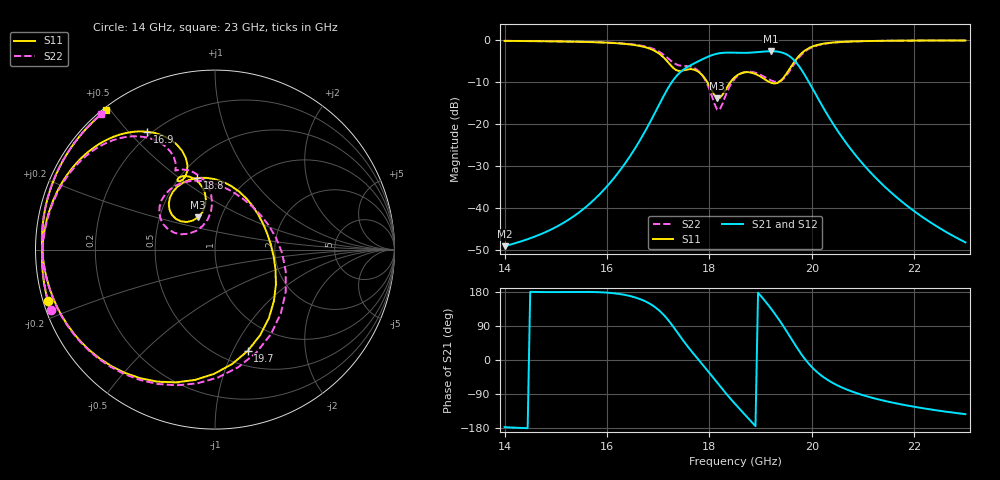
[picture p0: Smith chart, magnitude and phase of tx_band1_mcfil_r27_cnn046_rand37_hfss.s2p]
! Touchstone file exported from HFSS 3D Layout Design 2026.1.0
!  File:  D:/Work/SIM/ADS_AUTO_SIM/projects/RFSOC_RF/TX_Fillter.aedt
!  Generated:  02:12:20 AM Aug 31, 2026
!  Design:  TX_BAND1_MCFIL_R27_CNN046
!  Project:  TX_Fillter
# GHz S MA R 50.000000
! Terminal data exported
! Port[1] = Port1
! Port[2] = Port2
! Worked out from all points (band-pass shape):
!   181 points, 14 GHz to 23 GHz, reference 50 ohm
!   highest |S21| = -2.70 dB at 19.2 GHz (marker M1); lowest = -49.0 dB at 14 GHz (marker M2)
!   |S21| within 3 dB of the highest: 17.68 GHz to 19.72 GHz (2.031 GHz wide, 10.9 % of centre)
!   lowest |S11| = -13.8 dB at 18.15 GHz (marker M3), VSWR 1.51, Z = 39 + j14.6 ohm
!   |S11| at or under -10 dB: 17.96 GHz to 18.41 GHz (457.8 MHz wide, 2.52 % of centre); 19.17 GHz to 19.36 GHz (190.3 MHz wide, 0.988 % of centre)
!   |S22| runs from -16.6 to -0.1 dB; largest |S21 - S12| = 1.3e-14
!   S11 on the Smith chart (normalised r, x): 14 GHz: 0.01, -0.15; 16.9 GHz: 0.18, +0.56; 18.8 GHz: 0.61, +0.58; 19.7 GHz: 0.66, -1.14; 23 GHz: 0.01, +0.49
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14  0.974 -162.9  0.003532 -177.2  0.003532 -177.2  0.9749 -159.6
15.5  0.9486 167.5  0.00935 179.7  0.00935 179.7  0.951 171.4
16.3  0.9022 145.5  0.03067 173.0  0.03067 173.0  0.9088 150.2
16.9  0.7577 119.9  0.1231 143.1  0.1231 143.1  0.7829 126.3
17  0.6996 114.7  0.1616 132.8  0.1616 132.8  0.7337 121.5
17.25  0.4957 108.1  0.3046 95.9  0.3046 95.9  0.5641 114.0
17.5  0.4347 118.4  0.446 49.2  0.446 49.2  0.4914 116.5
17.85  0.3867 103.7  0.5836 -9.3  0.5836 -9.3  0.388 98.9
18.15  0.2032 117.7  0.6855 -59.3  0.6855 -59.3  0.1485 117.4
18.3  0.2468 140.3  0.7045 -84.3  0.7045 -84.3  0.2063 155.6
18.5  0.3622 135.3  0.7035 -115.7  0.7035 -115.7  0.3486 150.5
18.8  0.4106 103.9  0.7057 -159.7  0.7057 -159.7  0.4184 121.6
19  0.3655 75.6  0.7217 169.8  0.7217 169.8  0.3844 98.4
19.2  0.3099 38.7  0.7332 136.2  0.7332 136.2  0.3309 69.1
19.45  0.3563 -18.7  0.6971 88.1  0.6971 88.1  0.3462 11.0
19.7  0.5926 -72.0  0.5343 34.7  0.5343 34.7  0.5651 -56.6
19.85  0.7348 -98.7  0.394 5.4  0.394 5.4  0.713 -88.7
20  0.8287 -120.1  0.2733 -18.6  0.2733 -18.6  0.8141 -113.2
20.25  0.9067 -145.5  0.1469 -47.3  0.1469 -47.3  0.8998 -141.2
20.55  0.9448 -165.7  0.0756 -70.2  0.0756 -70.2  0.9418 -162.6
21.5  0.9775 158.8  0.01633 -110.3  0.01633 -110.3  0.9771 160.9
23  0.9853 128.0  0.003922 -143.0  0.003922 -143.0  0.9852 129.9
